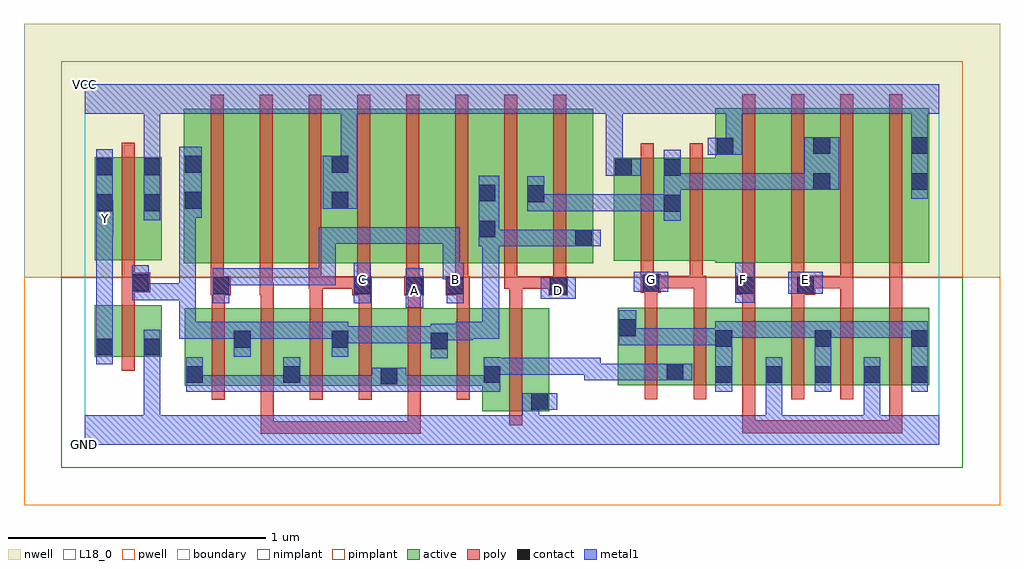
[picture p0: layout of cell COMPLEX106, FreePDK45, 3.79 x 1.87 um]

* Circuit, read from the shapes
.subckt COMPLEX106 A B C D E F G GND VCC Y
M1 GND n1 Y VSUBS nfet w=0.2u l=0.05u
M2 n1 B n2 VSUBS nfet w=0.3u l=0.05u m=2
M3 n2 A n1 VSUBS nfet w=0.3u l=0.05u m=2
M4 n1 C n2 VSUBS nfet w=0.3u l=0.05u m=2
M5 GND D n2 VSUBS nfet w=0.4u l=0.05u
M6 n2 G n3 VSUBS nfet w=0.3u l=0.05u m=2
M7 GND F n3 VSUBS nfet w=0.3u l=0.05u m=2
M8 n3 E GND VSUBS nfet w=0.3u l=0.05u m=2
M9 VCC n1 Y n4 pfet w=0.4u l=0.05u
M10 n5 B n1 n4 pfet w=0.6u l=0.05u
M11 n6 A n5 n4 pfet w=0.6u l=0.05u
M12 VCC C n6 n4 pfet w=0.6u l=0.05u
M13 n7 C VCC n4 pfet w=0.6u l=0.05u
M14 n8 A n7 n4 pfet w=0.6u l=0.05u
M15 n1 B n8 n4 pfet w=0.6u l=0.05u
M16 n9 D n1 n4 pfet w=0.6u l=0.05u m=2
M17 n9 G VCC n4 pfet w=0.4u l=0.05u m=2
M18 n10 F VCC n4 pfet w=0.6u l=0.05u
M19 n9 E n10 n4 pfet w=0.6u l=0.05u
M20 n11 E n9 n4 pfet w=0.6u l=0.05u
M21 VCC F n11 n4 pfet w=0.6u l=0.05u
.ends

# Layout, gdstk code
import gdstk
lib = gdstk.Library(unit=1e-6, precision=1e-09)
def R(c, l, rs):  # rectangles x0, y0, x1, y1
    for r in rs: c.add(gdstk.rectangle(r[:2], r[2:], *l))
def A(c, l, x, y, w, h, nx, ny, dx, dy):  # array of equal rectangles
    R(c, l, [(x+i*dx, y+j*dy, x+i*dx+w, y+j*dy+h) for i in range(nx) for j in range(ny)])
active = (1, 0)
pwell = (2, 0)
nwell = (3, 0)
nimplant = (4, 0)
pimplant = (5, 0)
poly = (9, 0)
contact = (10, 0)
metal1 = (11, 0)
L18_0 = (18, 0)
boundary = (235, 0)

complex106 = lib.new_cell('COMPLEX106')
R(complex106, active, [(1.545,0.13,1.805,0.53), (1.73,0.13,1.805,0.53), (1.545,0.2,1.62,0.405), (0.39,0.23,0.465,0.53), (0.39,0.23,0.65,0.53), (0.575,0.23,0.842,0.53), (0.767,0.23,1.03,0.53), (0.767,0.23,0.842,0.437), (0.955,0.23,1.22,0.53), (1.145,0.23,1.415,0.53), (1.145,0.23,1.22,0.405), (1.34,0.23,1.62,0.53), (2.07,0.232,2.33,0.532), (2.255,0.232,2.52,0.532), (2.255,0.232,2.33,0.392), (2.445,0.232,2.52,0.532), (2.445,0.232,2.715,0.532), (2.64,0.232,2.905,0.532), (2.64,0.232,2.715,0.397), (2.83,0.232,3.095,0.532), (2.83,0.232,2.905,0.517), (3.02,0.232,3.28,0.532), (3.02,0.232,3.095,0.437), (3.205,0.232,3.28,0.532), (0.575,0.295,0.65,0.447), (0.955,0.295,1.03,0.517), (1.34,0.295,1.415,0.44), (2.07,0.295,2.145,0.532), (0.04,0.342,0.115,0.542), (0.04,0.342,0.3,0.542), (0.225,0.342,0.3,0.542), (0.385,0.705,0.61,1.305), (0.385,0.705,0.49,1.2), (0.61,0.705,0.8,1.305), (0.8,0.705,1.03,1.305), (0.955,0.705,1.18,1.305), (1.18,0.705,1.37,1.305), (1.37,0.705,1.6,1.305), (1.525,0.705,1.79,1.305), (1.525,0.705,1.6,1.2), (1.715,0.705,1.975,1.305), (1.9,0.705,1.975,1.047), (0.955,0.707,1.03,1.305), (1.715,0.707,1.79,1.2), (2.45,0.707,2.675,1.307), (2.675,0.707,2.9,1.307), (2.825,0.707,3.055,1.307), (2.825,0.707,2.9,1.2), (3.055,0.707,3.28,1.307), (3.205,0.707,3.28,1.307), (2.055,0.715,2.32,1.115), (2.245,0.715,2.32,1.115), (2.245,0.715,2.525,1.115), (0.04,0.717,0.115,1.117), (0.04,0.717,0.3,1.117), (0.225,0.717,0.3,1.117), (2.45,0.827,2.525,1.307), (2.055,0.907,2.13,1.115)])
R(complex106, pwell, [(-0.235,-0.235,3.555,0.65)])
R(complex106, nwell, [(-0.235,0.65,3.555,1.635)])
R(complex106, nimplant, [(-0.09,-0.09,3.41,0.65)])
R(complex106, pimplant, [(-0.09,0.65,3.41,1.49)])
A(complex106, poly, 0.495, 0.175, 0.05, 0.41, 6, 1, 0.19, 0)
A(complex106, poly, 2.175, 0.177, 0.05, 0.41, 6, 1, 0.19, 0)
A(complex106, poly, 1.065, 0.535, 0.05, 0.095, 3, 1, 0.19, 0)
A(complex106, poly, 0.87, 0.605, 0.05, 0.095, 6, 1, 0.19, 0)
A(complex106, poly, 2.555, 0.607, 0.05, 0.095, 3, 1, 0.19, 0)
A(complex106, poly, 0.49, 0.65, 0.05, 0.71, 8, 1, 0.19, 0)
A(complex106, poly, 2.555, 0.652, 0.05, 0.71, 4, 1, 0.19, 0)
R(complex106, poly, [(0.685,0.042,0.735,0.092), (0.685,0.042,0.735,0.092), (0.685,0.042,0.735,0.092), (0.685,0.042,0.925,0.092), (0.685,0.042,0.735,0.225), (0.875,0.042,0.925,0.092), (0.875,0.042,0.925,0.092), (0.875,0.042,0.925,0.092), (0.875,0.042,1.057,0.092), (1.007,0.042,1.057,0.092), (1.007,0.042,1.057,0.092), (1.007,0.042,1.057,0.092), (1.007,0.042,1.305,0.092), (1.255,0.042,1.305,0.092), (1.255,0.042,1.305,0.225), (2.555,0.045,2.605,0.095), (2.555,0.045,2.605,0.095), (2.555,0.045,2.605,0.095), (2.555,0.045,2.605,0.227), (2.555,0.045,2.852,0.095), (2.802,0.045,2.852,0.095), (2.802,0.045,2.852,0.095), (2.802,0.045,2.852,0.095), (2.802,0.045,3.042,0.095), (2.992,0.045,3.042,0.095), (2.992,0.045,3.175,0.095), (3.125,0.045,3.175,0.095), (3.125,0.045,3.175,0.095), (3.125,0.045,3.175,0.095), (3.125,0.045,3.175,0.227), (1.65,0.075,1.7,0.585), (0.145,0.287,0.195,0.597), (0.495,0.535,0.545,0.63), (0.685,0.535,0.735,0.63), (0.875,0.535,0.925,0.655), (1.65,0.535,1.7,0.655), (2.175,0.537,2.225,0.64), (2.365,0.537,2.415,0.657), (2.555,0.537,2.605,0.632), (2.745,0.537,2.795,0.632), (2.935,0.537,2.985,0.657), (3.125,0.537,3.175,0.632), (0.145,0.547,0.195,0.642), (0.49,0.58,0.567,0.655), (0.68,0.58,0.73,0.7), (0.68,0.58,0.735,0.63), (1.04,0.58,1.115,0.655), (1.242,0.58,1.317,0.655), (1.402,0.58,1.495,0.655), (1.802,0.58,1.877,0.655), (2.53,0.582,2.605,0.657), (2.745,0.582,2.837,0.657), (3.125,0.582,3.175,0.702), (3.125,0.582,3.175,0.632), (2.16,0.59,2.237,0.665), (0.145,0.592,0.255,0.667), (0.49,0.605,0.54,0.7), (0.87,0.605,0.925,0.655), (0.875,0.605,0.925,0.655), (0.875,0.605,0.925,0.655), (0.875,0.605,1.09,0.655), (1.63,0.605,1.7,0.655), (1.65,0.605,1.7,0.655), (1.65,0.605,1.7,0.655), (1.65,0.605,1.852,0.655), (2.187,0.607,2.237,0.657), (2.187,0.607,2.237,0.657), (2.187,0.607,2.4,0.657), (2.35,0.607,2.4,0.71), (2.35,0.607,2.415,0.657), (2.787,0.607,2.837,0.657), (2.787,0.607,2.837,0.657), (2.787,0.607,2.985,0.657), (2.935,0.607,2.985,0.657), (2.16,0.615,2.21,0.71), (0.145,0.617,0.195,0.712), (2.16,0.66,2.21,1.17), (2.35,0.66,2.4,1.17), (0.145,0.662,0.195,1.172)])
A(complex106, contact, 2.645, 0.24, 0.065, 0.065, 3, 1, 0.19, 0)
R(complex106, contact, [(1.735,0.135,1.8,0.2), (1.15,0.235,1.215,0.3), (0.395,0.24,0.46,0.305), (0.772,0.24,0.837,0.305), (1.55,0.24,1.615,0.305), (2.45,0.24,2.515,0.305), (3.21,0.24,3.275,0.305), (2.26,0.25,2.325,0.315), (0.045,0.347,0.11,0.412), (0.23,0.347,0.295,0.412), (1.345,0.37,1.41,0.435), (0.58,0.377,0.645,0.442), (0.96,0.377,1.025,0.442), (2.45,0.38,2.515,0.445), (2.835,0.38,2.9,0.445), (3.21,0.38,3.275,0.445), (2.075,0.422,2.14,0.487), (0.497,0.585,0.562,0.65), (1.045,0.585,1.11,0.65), (1.247,0.585,1.312,0.65), (1.407,0.585,1.472,0.65), (1.807,0.585,1.872,0.65), (2.535,0.587,2.6,0.652), (2.767,0.587,2.832,0.652), (2.167,0.595,2.232,0.66), (0.185,0.597,0.25,0.662), (1.905,0.77,1.97,0.835), (1.53,0.805,1.595,0.87), (2.25,0.905,2.315,0.97), (0.045,0.907,0.11,0.972), (0.23,0.907,0.295,0.972), (0.39,0.917,0.455,0.982), (0.96,0.917,1.025,0.982), (1.72,0.942,1.785,1.007), (1.53,0.945,1.595,1.01), (2.83,0.99,2.895,1.055), (3.21,0.99,3.275,1.055), (2.06,1.045,2.125,1.11), (2.25,1.045,2.315,1.11), (0.045,1.047,0.11,1.112), (0.23,1.047,0.295,1.112), (0.39,1.057,0.455,1.122), (0.96,1.057,1.025,1.122), (2.455,1.127,2.52,1.192), (2.83,1.13,2.895,1.195), (3.21,1.13,3.275,1.195)])
R(complex106, metal1, [(0,0,3.32,0.115), (0.23,0.05,0.295,0.377), (1.7,0.05,1.765,0.115), (1.7,0.05,1.765,0.115), (1.7,0.05,1.765,0.2), (2.645,0.05,2.71,0.27), (3.025,0.05,3.09,0.27), (1.7,0.135,1.835,0.2), (0.395,0.205,0.46,0.34), (0.395,0.205,0.562,0.27), (0.497,0.205,0.562,0.27), (0.497,0.205,0.7,0.27), (0.635,0.205,0.7,0.27), (0.635,0.205,0.7,0.27), (0.635,0.205,0.7,0.27), (0.635,0.205,0.837,0.27), (0.772,0.205,0.837,0.27), (0.772,0.205,0.837,0.27), (0.772,0.205,0.837,0.34), (0.772,0.205,0.975,0.27), (0.91,0.205,0.975,0.27), (0.91,0.205,0.975,0.27), (0.91,0.205,0.975,0.27), (0.91,0.205,1.18,0.27), (1.115,0.205,1.25,0.3), (1.185,0.205,1.25,0.27), (1.185,0.205,1.25,0.27), (1.185,0.205,1.387,0.27), (1.322,0.205,1.387,0.27), (1.322,0.205,1.522,0.27), (1.457,0.205,1.522,0.27), (1.457,0.205,1.615,0.27), (1.55,0.205,1.615,0.34), (2.45,0.205,2.515,0.48), (2.645,0.205,2.71,0.27), (2.645,0.205,2.71,0.27), (2.645,0.205,2.71,0.27), (2.645,0.205,2.71,0.27), (2.645,0.205,2.71,0.34), (2.835,0.205,2.9,0.48), (3.025,0.205,3.09,0.27), (3.025,0.205,3.09,0.27), (3.025,0.205,3.09,0.27), (3.025,0.205,3.09,0.27), (3.025,0.205,3.09,0.34), (3.21,0.205,3.275,0.48), (1.94,0.25,2.142,0.315), (1.94,0.25,2.005,0.337), (2.077,0.25,2.142,0.315), (2.077,0.25,2.142,0.315), (2.077,0.25,2.142,0.315), (2.077,0.25,2.29,0.315), (2.225,0.25,2.36,0.315), (1.55,0.272,1.66,0.337), (1.595,0.272,1.66,0.337), (1.595,0.272,1.797,0.337), (1.732,0.272,1.797,0.337), (1.732,0.272,1.797,0.337), (1.732,0.272,1.797,0.337), (1.732,0.272,2.005,0.337), (0.045,0.312,0.11,0.447), (0.23,0.312,0.295,0.377), (0.23,0.312,0.295,0.377), (0.23,0.312,0.295,0.377), (0.23,0.312,0.295,0.377), (0.23,0.312,0.295,0.377), (0.23,0.312,0.295,0.377), (0.23,0.312,0.295,0.447), (1.345,0.335,1.41,0.47), (0.58,0.342,0.645,0.477), (0.96,0.342,1.025,0.477), (0.045,0.382,0.11,0.877), (2.075,0.387,2.142,0.522), (2.077,0.387,2.142,0.452), (2.077,0.387,2.142,0.452), (2.077,0.387,2.347,0.452), (2.282,0.387,2.347,0.452), (2.282,0.387,2.347,0.452), (2.282,0.387,2.347,0.452), (2.282,0.387,2.515,0.452), (0.96,0.395,1.025,0.46), (0.96,0.395,1.025,0.46), (0.96,0.395,1.25,0.46), (1.185,0.395,1.25,0.46), (1.185,0.395,1.25,0.46), (1.185,0.395,1.25,0.46), (1.185,0.395,1.41,0.46), (1.345,0.405,1.507,0.47), (1.442,0.405,1.507,0.477), (0.367,0.412,0.432,0.477), (0.367,0.412,0.562,0.477), (0.367,0.412,0.432,0.627), (0.497,0.412,0.562,0.477), (0.497,0.412,0.645,0.477), (0.58,0.412,0.7,0.477), (0.635,0.412,0.7,0.477), (0.635,0.412,0.837,0.477), (0.772,0.412,0.837,0.477), (0.772,0.412,0.837,0.477), (0.772,0.412,0.837,0.477), (0.772,0.412,1.025,0.477), (1.442,0.412,1.61,0.477), (1.545,0.412,1.61,0.477), (1.545,0.412,1.61,0.477), (1.545,0.412,1.61,0.477), (1.545,0.412,1.61,0.835), (2.45,0.415,2.515,0.48), (2.45,0.415,2.515,0.48), (2.45,0.415,2.722,0.48), (2.657,0.415,2.722,0.48), (2.657,0.415,2.722,0.48), (2.657,0.415,2.722,0.48), (2.657,0.415,2.9,0.48), (2.835,0.415,3.062,0.48), (2.997,0.415,3.062,0.48), (2.997,0.415,3.062,0.48), (2.997,0.415,3.062,0.48), (2.997,0.415,3.275,0.48), (3.21,0.415,3.275,0.48), (3.21,0.415,3.275,0.48), (1.247,0.532,1.315,0.685), (0.497,0.55,0.562,0.685), (1.045,0.55,1.112,0.707), (1.407,0.55,1.472,0.707), (2.527,0.552,2.6,0.707), (0.185,0.562,0.25,0.697), (0.185,0.562,0.425,0.627), (0.36,0.562,0.425,0.627), (0.36,0.562,0.425,0.627), (0.36,0.562,0.432,0.627), (0.367,0.562,0.432,0.947), (1.772,0.567,1.907,0.65), (2.732,0.587,2.867,0.672), (2.132,0.595,2.267,0.672), (0.497,0.62,0.7,0.685), (0.635,0.62,0.7,0.685), (0.635,0.62,0.7,0.685), (0.635,0.62,0.7,0.685), (0.635,0.62,0.837,0.685), (0.772,0.62,0.837,0.685), (0.772,0.62,0.837,0.685), (0.772,0.62,0.837,0.685), (0.772,0.62,0.975,0.685), (0.91,0.62,0.975,0.685), (0.91,0.62,0.975,0.845), (1.392,0.642,1.457,0.707), (1.392,0.642,1.472,0.707), (1.392,0.642,1.457,0.845), (1.53,0.77,1.61,1.045), (1.545,0.77,1.66,0.835), (1.595,0.77,1.66,0.835), (1.595,0.77,1.797,0.835), (1.732,0.77,1.797,0.835), (1.732,0.77,1.935,0.835), (1.87,0.77,1.935,0.835), (1.87,0.77,1.935,0.835), (1.87,0.77,2.005,0.835), (0.91,0.78,0.975,0.845), (0.91,0.78,0.975,0.845), (0.91,0.78,0.975,0.845), (0.91,0.78,1.25,0.845), (1.185,0.78,1.25,0.845), (1.185,0.78,1.25,0.845), (1.185,0.78,1.25,0.845), (1.185,0.78,1.457,0.845), (1.392,0.78,1.457,0.845), (0.045,0.812,0.112,0.947), (2.25,0.87,2.315,1.145), (0.045,0.872,0.11,1.147), (0.23,0.872,0.295,1.147), (0.045,0.882,0.11,0.947), (0.367,0.882,0.455,1.157), (1.72,0.907,1.785,1.042), (1.72,0.907,1.952,0.972), (1.887,0.907,1.952,0.972), (1.887,0.907,1.952,0.972), (1.887,0.907,1.952,0.972), (1.887,0.907,2.152,0.972), (2.087,0.907,2.152,0.972), (2.087,0.907,2.152,0.972), (2.087,0.907,2.152,0.972), (2.087,0.907,2.152,0.972), (2.087,0.907,2.152,0.972), (2.087,0.907,2.315,0.972), (0.925,0.917,1.06,1.122), (3.21,0.955,3.275,1.23), (2.25,0.99,2.315,1.055), (2.25,0.99,2.315,1.055), (2.25,0.99,2.572,1.055), (2.507,0.99,2.572,1.055), (2.507,0.99,2.572,1.055), (2.507,0.99,2.572,1.055), (2.507,0.99,2.722,1.055), (2.657,0.99,2.722,1.055), (2.657,0.99,2.722,1.055), (2.657,0.99,2.722,1.055), (2.657,0.99,2.86,1.055), (2.795,0.99,2.93,1.195), (2.025,1.045,2.09,1.11), (2.025,1.045,2.09,1.11), (2.025,1.045,2.16,1.11), (2.025,1.045,2.09,1.35), (0.995,1.057,1.06,1.35), (0.23,1.082,0.295,1.147), (0.23,1.082,0.295,1.147), (0.23,1.082,0.295,1.35), (2.42,1.127,2.555,1.192), (2.49,1.127,2.555,1.35), (3.21,1.165,3.275,1.35), (0,1.285,3.32,1.4)])
R(complex106, L18_0, [(0,0,3.32,0.115), (0.23,0.05,0.295,0.377), (1.7,0.05,1.765,0.115), (1.7,0.05,1.765,0.115), (1.7,0.05,1.765,0.2), (2.645,0.05,2.71,0.27), (3.025,0.05,3.09,0.27), (1.7,0.135,1.835,0.2), (2.645,0.205,2.71,0.34), (2.645,0.205,2.71,0.27), (2.645,0.205,2.71,0.27), (2.645,0.205,2.71,0.27), (2.645,0.205,2.71,0.27), (3.025,0.205,3.09,0.34), (3.025,0.205,3.09,0.27), (3.025,0.205,3.09,0.27), (3.025,0.205,3.09,0.27), (3.025,0.205,3.09,0.27), (0.045,0.312,0.11,0.447), (0.23,0.312,0.295,0.447), (0.23,0.312,0.295,0.377), (0.23,0.312,0.295,0.377), (0.23,0.312,0.295,0.377), (0.23,0.312,0.295,0.377), (0.23,0.312,0.295,0.377), (0.23,0.312,0.295,0.377), (0.045,0.382,0.11,0.877), (1.247,0.532,1.315,0.685), (0.497,0.55,0.562,0.685), (1.045,0.55,1.112,0.707), (1.407,0.55,1.472,0.707), (2.527,0.552,2.6,0.707), (1.247,0.567,1.312,0.632), (1.772,0.567,1.907,0.65), (1.807,0.567,1.872,0.632), (2.732,0.587,2.867,0.672), (2.132,0.595,2.267,0.672), (1.047,0.607,1.112,0.672), (1.407,0.607,1.472,0.672), (2.167,0.607,2.232,0.672), (2.527,0.607,2.592,0.672), (2.767,0.607,2.832,0.672), (0.497,0.62,0.7,0.685), (0.635,0.62,0.7,0.685), (0.635,0.62,0.7,0.685), (0.635,0.62,0.7,0.685), (0.635,0.62,0.837,0.685), (0.772,0.62,0.837,0.685), (0.772,0.62,0.837,0.685), (0.772,0.62,0.837,0.685), (0.772,0.62,0.975,0.685), (0.91,0.62,0.975,0.685), (0.91,0.62,0.975,0.845), (1.392,0.642,1.457,0.707), (1.392,0.642,1.457,0.845), (1.392,0.642,1.472,0.707), (0.91,0.78,0.975,0.845), (0.91,0.78,0.975,0.845), (0.91,0.78,0.975,0.845), (0.91,0.78,1.25,0.845), (1.185,0.78,1.25,0.845), (1.185,0.78,1.25,0.845), (1.185,0.78,1.25,0.845), (1.185,0.78,1.457,0.845), (1.392,0.78,1.457,0.845), (0.045,0.812,0.112,0.947), (0.047,0.847,0.112,0.912), (0.045,0.872,0.11,1.147), (0.23,0.872,0.295,1.147), (0.045,0.882,0.11,0.947), (0.925,0.917,1.06,1.122), (3.21,0.955,3.275,1.23), (2.025,1.045,2.09,1.11), (2.025,1.045,2.09,1.11), (2.025,1.045,2.16,1.11), (2.025,1.045,2.09,1.35), (0.995,1.057,1.06,1.35), (0.23,1.082,0.295,1.147), (0.23,1.082,0.295,1.147), (0.23,1.082,0.295,1.35), (2.42,1.127,2.555,1.192), (2.49,1.127,2.555,1.35), (3.21,1.165,3.275,1.35), (0,1.285,3.32,1.4)])
R(complex106, boundary, [(0,0,3.32,1.4)])
complex106.add(gdstk.Label('A', (1.28,0.6), layer=11, texttype=0))
complex106.add(gdstk.Label('B', (1.44,0.64), layer=11, texttype=0))
complex106.add(gdstk.Label('C', (1.08,0.64), layer=11, texttype=0))
complex106.add(gdstk.Label('D', (1.84,0.6), layer=11, texttype=0))
complex106.add(gdstk.Label('E', (2.8,0.64), layer=11, texttype=0))
complex106.add(gdstk.Label('F', (2.56,0.64), layer=11, texttype=0))
complex106.add(gdstk.Label('G', (2.2,0.64), layer=11, texttype=0))
complex106.add(gdstk.Label('Y', (0.08,0.88), layer=11, texttype=0))
complex106.add(gdstk.Label('VCC', (0,1.4), layer=11, texttype=0))
complex106.add(gdstk.Label('GND', (0,0), layer=11, texttype=0))

lib.write_gds('COMPLEX106.gds')
